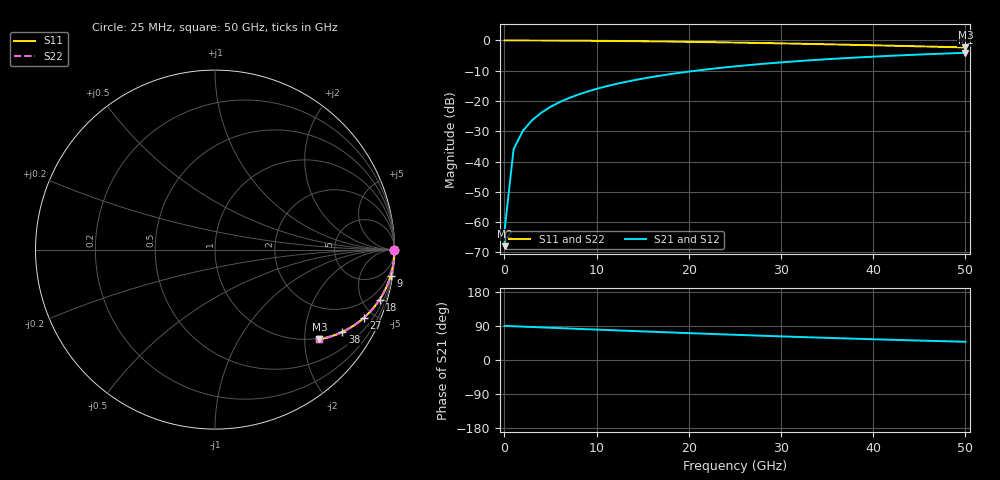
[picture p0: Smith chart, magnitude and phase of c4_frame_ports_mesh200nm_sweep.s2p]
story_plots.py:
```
#!/usr/bin/env python
"""Plot and numbers for README.md (c4_frame_ports MOM capacitor, SG13CMOS5L).

Reads the raw Touchstone files in results/snp/ and writes to results/plots/:

  story_c12_vs_cost.png - C12 at 1 GHz vs. solve time, order 2 and order 3,
                          mesh 0.2 / 0.1 / 0.05 um

It also prints the numbers quoted in README.md.

C12 = -Im(Y12) / (2*pi*f), from the raw (not de-embedded) Y-parameters at 1 GHz.
"""
import os
import numpy as np
import skrf as rf
import matplotlib
matplotlib.use("Agg")
import matplotlib.pyplot as plt

HERE = os.path.dirname(os.path.abspath(__file__))
SNP_DIR = os.path.join(HERE, "snp")
PLOT_DIR = os.path.join(HERE, "plots")

# (label, file, solve time in minutes from the Palace logs)
ORDER2 = [
    ("0.2 µm", "c4_frame_ports_mesh200nm.s2p", 14.5 / 60),
    ("0.1 µm", "c4_frame_ports_mesh100nm.s2p", 39.1 / 60),
    ("0.05 µm", "c4_frame_ports_mesh50nm.s2p", 2 + 4 / 60),
]
ORDER3 = [
    ("0.2 µm", "c4_frame_ports_mesh200nm_order3.s2p", 32.4 / 60),
    ("0.1 µm", "c4_frame_ports_mesh100nm_order3.s2p", 1 + 16 / 60),
    ("0.05 µm", "c4_frame_ports_mesh50nm_order3.s2p", 4 + 2 / 60),
]
SWEEP = "c4_frame_ports_mesh200nm_sweep.s2p"

INK = "#0b0b0b"
INK2 = "#52514e"
GRID = "#e4e3de"
BLUE = "#2a78d6"
ORANGE = "#eb6834"


def c12_ff(fname):
    ntw = rf.Network(os.path.join(SNP_DIR, fname))
    return -ntw.y[:, 0, 1].imag / (2 * np.pi * ntw.f) * 1e15, ntw.f


def style(ax):
    ax.grid(True, color=GRID, linewidth=0.8)
    ax.set_axisbelow(True)
    for side in ("top", "right"):
        ax.spines[side].set_visible(False)
    for side in ("left", "bottom"):
        ax.spines[side].set_color(INK2)
    ax.tick_params(colors=INK2, labelsize=9)


def plot_c12_vs_cost():
    fig, ax = plt.subplots(figsize=(8, 4.6))
    style(ax)
    for name, runs, color, marker in (("order 2", ORDER2, BLUE, "o"), ("order 3", ORDER3, ORANGE, "s")):
        xs = [t for _, _, t in runs]
        ys = [c12_ff(f)[0][0] for _, f, _ in runs]
        ax.plot(xs, ys, color=color, linewidth=2, marker=marker, markersize=8, label=name, zorder=3)
        for (label, _, _), x, y in zip(runs, xs, ys):
            ax.annotate(label, (x, y), textcoords="offset points", xytext=(7, 5), fontsize=8, color=INK)
    ax.set_xscale("log")
    ax.set_xticks([0.2, 0.5, 1, 2, 5, 10])
    ax.set_xticklabels(["0.2", "0.5", "1", "2", "5", "10"])
    ax.set_xlim(0.15, 10)
    ax.set_ylim(23.9, 25.8)
    ax.set_xlabel("Solve time (min, log scale)", color=INK2)
    ax.set_ylabel("C12 at 1 GHz (fF)", color=INK2)
    ax.legend(frameon=False, fontsize=9, loc="upper right", title="FEM order, label = refined_cellsize",
              title_fontsize=8)
    fig.tight_layout()
    out = os.path.join(PLOT_DIR, "story_c12_vs_cost.png")
    fig.savefig(out, dpi=130, facecolor="white")
    plt.close(fig)
    print("wrote", out)


def print_numbers():
    best = c12_ff(ORDER3[-1][1])[0][0]
    print()
    print(f"{'run':18s} {'C12 fF':>7s} {'vs best':>8s} {'min':>6s}")
    for order, runs in (("order 2", ORDER2), ("order 3", ORDER3)):
        for label, fname, t in runs:
            c = c12_ff(fname)[0][0]
            print(f"{order + ', ' + label:18s} {c:7.3f} {(c / best - 1) * 100:+7.2f}% {t:6.1f}")
    c, f = c12_ff(SWEEP)
    print(f"sweep 0.2 µm/order 2: {c[0]:.2f} fF at {f[0] / 1e9:.2f} GHz, {c[-1]:.2f} fF at {f[-1] / 1e9:.0f} GHz "
          f"({(c[-1] / c[0] - 1) * 100:+.1f}%)")


if __name__ == "__main__":
    os.makedirs(PLOT_DIR, exist_ok=True)
    plot_c12_vs_cost()
    print_numbers()
```
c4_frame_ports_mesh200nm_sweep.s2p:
#  GHZ S DB R 50.0
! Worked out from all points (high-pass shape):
!   52 points, 25 MHz to 50 GHz, reference 50 ohm
!   highest |S21| = -4.08 dB at 50 GHz (marker M1); lowest = -67.9 dB at 25 MHz (marker M2)
!   |S21| within 3 dB of the highest: 30.72 GHz to end of sweep
!   lowest |S11| = -2.3 dB at 50 GHz (marker M3), VSWR 7.59, Z = 48.4 - j118 ohm
!   |S11| at or under -10 dB: nowhere
!   |S22| runs from -2.3 to 0.0 dB; largest |S21 - S12| = 1.5e-13
!   S11 on the Smith chart (normalised r, x): 25 MHz: open; 9 GHz: 1, -13; 18 GHz: 0.97, -6.60; 27 GHz: 0.97, -4.39; 38 GHz: 0.97, -3.11; 50 GHz: 0.97, -2.35
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0.025  -0.00 -0.0  -67.92 90.0  -67.92 90.0  -0.00 -0.0
0.05  -0.00 -0.0  -61.90 90.0  -61.90 90.0  -0.00 -0.0
1  -0.00 -1.0  -35.88 89.0  -35.88 89.0  -0.00 -1.0
2  -0.01 -1.9  -29.86 88.0  -29.86 88.0  -0.01 -1.9
5  -0.03 -4.8  -21.92 85.1  -21.92 85.1  -0.03 -4.8
9  -0.10 -8.6  -16.88 81.2  -16.88 81.2  -0.10 -8.6
18  -0.37 -16.9  -11.12 72.7  -11.12 72.7  -0.37 -16.9
26  -0.74 -23.7  -8.28 65.7  -8.28 65.7  -0.74 -23.7
27  -0.79 -24.5  -8.00 64.8  -8.00 64.8  -0.79 -24.5
38  -1.46 -32.9  -5.67 56.2  -5.67 56.2  -1.46 -32.9
50  -2.30 -40.7  -4.08 48.1  -4.08 48.1  -2.30 -40.7
